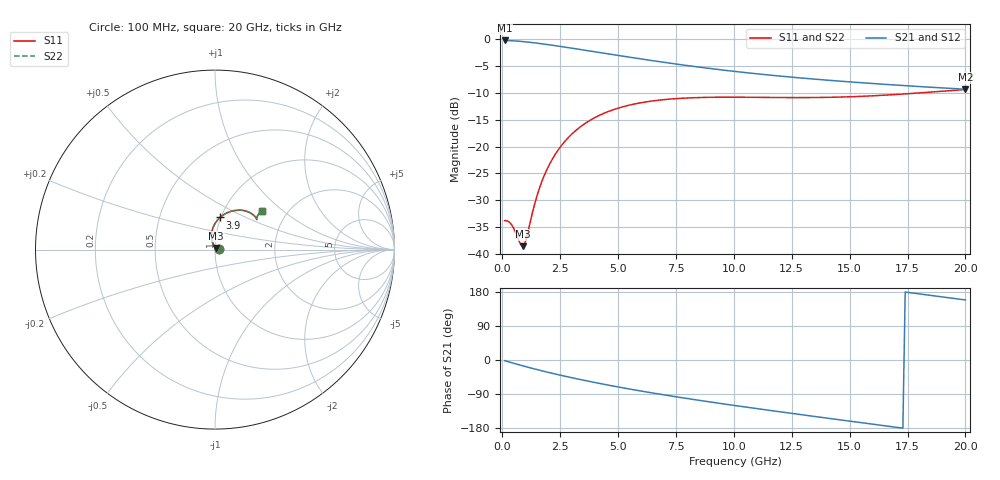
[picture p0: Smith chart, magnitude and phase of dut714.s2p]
! Touchstone file exported from HFSS 2024.1.0
!  File:  C:/UserFiles/LocalFiles/RDL_TSV_Batchsim/temp_RDL_TSV_714_1779889011.aedt
!  Generated:  09:49:34 PM May 27, 2026
!  Design:  RDL_TSV
!  Project:  temp_RDL_TSV_714_1779889011
!  Setup:  Setup1
!  Solution:  Sweep
! Variables:
!  dtsv = 10.24um
!  hbump = 3um
!  htsv = 77.22um
!  ldown = 569.83um
!  lrdl = 252.02um
!  p = 40
!  p1 = 51.09um
!  rhole = 10um
!  subl = 2717.57um
!  t = 450um
!  tdown = 3.68um
!  trdl = 2.4um
!  viad = 10um
!  wdown = 28.39um
!  wrdl = 10.41um
!  xbump = 18um
# GHz S MA R 50.000000
! Terminal data exported
! Port[1] = TM1_1_T1
! Port[2] = TM1_4_T1
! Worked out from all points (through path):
!   200 points, 100 MHz to 20 GHz, reference 50 ohm
!   highest |S21| = -0.18 dB at 100 MHz (marker M1); lowest = -9.3 dB at 20 GHz (marker M2)
!   group delay of S21, straight-line fit = 26.3 ps
!   lowest |S11| = -38.6 dB at 900 MHz (marker M3), VSWR 1.02, Z = 50.7 + j0.978 ohm
!   |S11| at or under -10 dB: start of sweep to 17.96 GHz
!   |S22| runs from -38.6 to -9.3 dB; largest |S21 - S12| = 2.2e-14
!   S11 on the Smith chart (normalised r, x): 100 MHz: 1.04, +0.00; 3.9 GHz: 0.99, +0.37; 20 GHz: 1.50, +0.73
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0.1  0.02032 2.7  0.9792 -1.8  0.9792 -1.8  0.02032 2.7
! Gamma 0 0 0 0
! Port Impedance 50 0 50 0
0.3  0.01972 5.9  0.9758 -5.4  0.9758 -5.4  0.01972 5.9
0.4  0.01863 7.7  0.9734 -7.1  0.9734 -7.1  0.01863 7.7
0.8  0.01207 37.6  0.96 -14.0  0.96 -14.0  0.01206 37.7
0.9  0.01173 55.3  0.9557 -15.7  0.9557 -15.7  0.01172 55.4
1  0.01293 73.5  0.9511 -17.3  0.9511 -17.3  0.01292 73.5
1.3  0.02405 102.7  0.9356 -22.2  0.9356 -22.2  0.02406 102.7
1.5  0.03471 107.8  0.9243 -25.3  0.9243 -25.3  0.03472 107.8
1.7  0.04659 108.7  0.9123 -28.4  0.9123 -28.4  0.0466 108.7
2  0.06567 106.8  0.8936 -32.9  0.8936 -32.9  0.0657 106.8
2.3  0.0854 103.2  0.8745 -37.2  0.8745 -37.2  0.08545 103.2
2.7  0.1116 97.6  0.8488 -42.7  0.8488 -42.7  0.1117 97.7
3.5  0.1601 86.2  0.7982 -53.2  0.7982 -53.2  0.1602 86.3
3.9  0.1814 80.9  0.7736 -58.2  0.7736 -58.2  0.1815 81.0
5.2  0.2349 66.2  0.6989 -73.4  0.6989 -73.4  0.235 66.2
6.8  0.2716 52.8  0.6197 -90.2  0.6197 -90.2  0.2717 52.9
8.4  0.2864 43.9  0.5553 -105.5  0.5553 -105.5  0.2864 44.0
10.1  0.289 38.4  0.5013 -120.6  0.5013 -120.6  0.289 38.5
11.7  0.2871 36.0  0.4614 -134.2  0.4614 -134.2  0.2872 36.1
13.4  0.2867 35.8  0.4276 -148.3  0.4276 -148.3  0.2869 36.0
16.7  0.3034 38.4  0.3787 -175.1  0.3787 -175.1  0.3038 38.6
20  0.3409 39.3  0.3428 158.5  0.3428 158.5  0.3418 39.5
